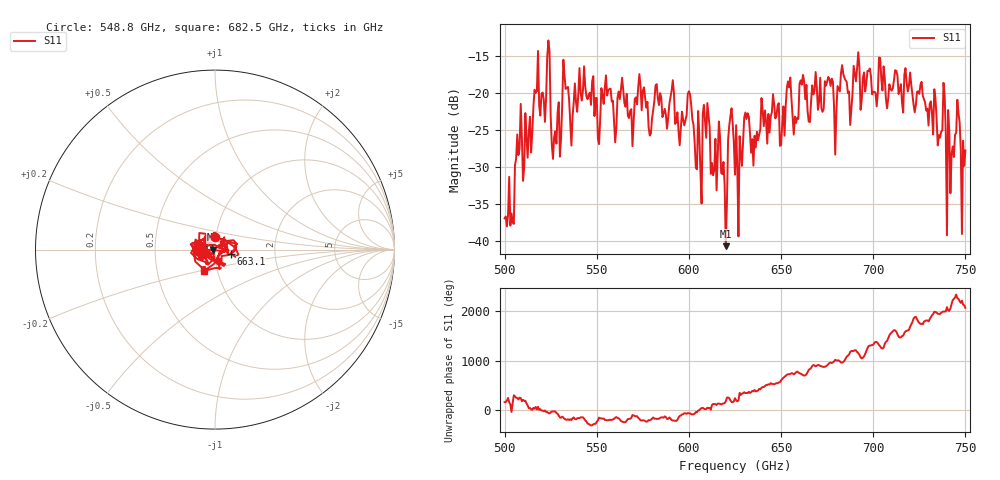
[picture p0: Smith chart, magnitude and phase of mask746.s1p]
!Created with skrf (http://scikit-rf.org).
# GHz S MA R 50.0
!freq magS11 angS11
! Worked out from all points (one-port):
!   401 points, 500 GHz to 750 GHz, reference 50 ohm
!   lowest |S11| = -40.7 dB at 620 GHz (marker M1), VSWR 1.02, Z = 49.1 - j0.0212 ohm
!   |S11| at or under -10 dB: start of sweep to end of sweep
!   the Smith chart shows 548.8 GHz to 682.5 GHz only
!   S11 on the Smith chart (normalised r, x): 548.8 GHz: 0.99, +0.14; 663.1 GHz: 1.19, -0.06; 682.5 GHz: 0.86, -0.21
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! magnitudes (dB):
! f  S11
! 500 GHz  -36.9
! 516.9 GHz  -19.9
! 523.8 GHz  -12.9
! 526.9 GHz  -25.9
! 531.2 GHz  -21.6
! 548.8 GHz  -23.1
! 562.5 GHz  -20.8
! 579.4 GHz  -25.4
! 590.6 GHz  -19.6
! 593.8 GHz  -22.6
! 600.6 GHz  -20.2
! 605.6 GHz  -25.6
! 609.4 GHz  -26.0
! 620 GHz  -40.7
! 622.5 GHz  -23.1
! 625 GHz  -31.0
! 627.5 GHz  -25.8
! 656.2 GHz  -23.1
! 663.1 GHz  -20.8
! 680 GHz  -22.6
! 682.5 GHz  -17.3
! 687.5 GHz  -24.3
! 690.6 GHz  -18.4
! 718.8 GHz  -19.8
! 738.1 GHz  -18.6
! 741.2 GHz  -25.0
! 745.6 GHz  -20.9
! 750 GHz  -27.7
